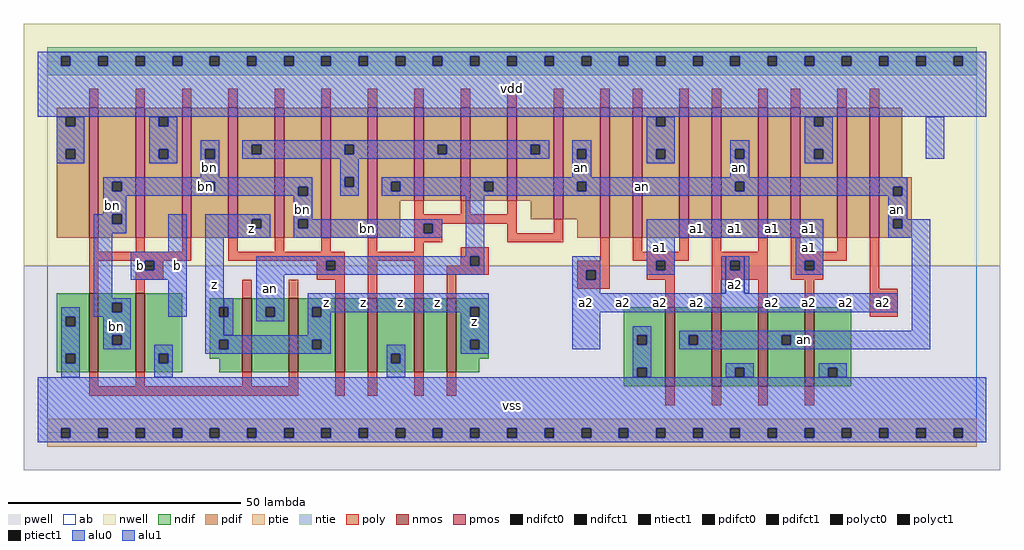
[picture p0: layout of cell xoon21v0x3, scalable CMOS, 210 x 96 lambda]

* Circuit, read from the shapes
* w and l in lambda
.subckt xoon21v0x3 a1 a2 an b bn vdd vss z
M1 bn b vss vss nfet w=17 l=2 m=2
M2 an b z vss nfet w=16 l=2 m=2
M3 n1 an z vss nfet w=16 l=2
M4 vss bn n1 vss nfet w=16 l=2
M5 n2 bn vss vss nfet w=16 l=2
M6 z an n2 vss nfet w=16 l=2
M7 an a1 vss vss nfet w=17 l=2 m=2
M8 vss a2 an vss nfet w=17 l=2 m=2
M9 bn b vdd vdd pfet w=28 l=2 m=3
M10 z an bn vdd pfet w=28 l=2 m=3
M11 an bn z vdd pfet w=28 l=2
M12 z bn an vdd pfet w=20 l=2 m=3
M13 an bn z vdd pfet w=24 l=2
M14 n3 a2 an vdd pfet w=28 l=2
M15 vdd a1 n3 vdd pfet w=28 l=2
M16 n4 a1 vdd vdd pfet w=28 l=2
M17 an a2 n4 vdd pfet w=28 l=2
M18 n5 a2 an vdd pfet w=28 l=2
M19 vdd a1 n5 vdd pfet w=28 l=2
M20 n6 a1 vdd vdd pfet w=28 l=2
M21 an a2 n6 vdd pfet w=28 l=2
.ends

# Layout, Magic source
magic
tech scmos
<< ab >>
rect 0 0 200 80
<< nwell >>
rect -5 36 205 88
<< pwell >>
rect -5 -8 205 36
<< poly >>
rect 9 70 11 74
rect 19 70 21 74
rect 29 70 31 74
rect 39 70 41 74
rect 49 70 51 74
rect 59 70 61 74
rect 69 70 71 74
rect 79 70 81 74
rect 89 70 91 74
rect 99 70 101 74
rect 109 70 111 74
rect 119 70 121 74
rect 126 70 128 74
rect 136 70 138 74
rect 143 70 145 74
rect 153 70 155 74
rect 160 70 162 74
rect 170 70 172 74
rect 177 70 179 74
rect 79 47 81 50
rect 89 47 91 50
rect 99 47 101 50
rect 79 45 101 47
rect 79 43 81 45
rect 83 43 85 45
rect 9 39 11 42
rect 19 39 21 42
rect 29 39 31 42
rect 9 37 31 39
rect 39 39 41 42
rect 49 39 51 42
rect 59 39 61 42
rect 69 39 71 42
rect 79 41 85 43
rect 99 43 101 45
rect 109 43 111 46
rect 99 41 111 43
rect 79 39 81 41
rect 39 37 64 39
rect 9 30 11 37
rect 19 35 21 37
rect 23 35 25 37
rect 19 33 25 35
rect 58 35 60 37
rect 62 35 64 37
rect 58 33 64 35
rect 19 30 21 33
rect 42 29 44 33
rect 52 29 54 33
rect 62 29 64 33
rect 69 37 81 39
rect 69 29 71 37
rect 79 29 81 37
rect 89 38 95 40
rect 89 36 91 38
rect 93 36 95 38
rect 119 37 121 42
rect 126 39 128 42
rect 136 39 138 42
rect 126 37 138 39
rect 143 39 145 42
rect 153 39 155 42
rect 143 37 155 39
rect 86 34 95 36
rect 114 35 121 37
rect 86 29 88 34
rect 114 33 116 35
rect 118 33 121 35
rect 129 35 131 37
rect 133 35 135 37
rect 129 33 135 35
rect 114 31 121 33
rect 133 27 135 33
rect 143 35 147 37
rect 149 35 155 37
rect 143 33 155 35
rect 160 39 162 42
rect 170 39 172 42
rect 160 37 172 39
rect 160 35 163 37
rect 165 35 167 37
rect 160 33 167 35
rect 143 27 145 33
rect 153 27 155 33
rect 163 27 165 33
rect 177 31 179 42
rect 177 29 183 31
rect 177 27 179 29
rect 181 27 183 29
rect 9 10 11 13
rect 19 10 21 13
rect 42 10 44 13
rect 52 10 54 13
rect 9 8 54 10
rect 62 8 64 13
rect 69 8 71 13
rect 79 8 81 13
rect 86 8 88 13
rect 177 25 183 27
rect 133 6 135 10
rect 143 6 145 10
rect 153 6 155 10
rect 163 6 165 10
<< ndif >>
rect 2 25 9 30
rect 2 23 4 25
rect 6 23 9 25
rect 2 17 9 23
rect 2 15 4 17
rect 6 15 9 17
rect 2 13 9 15
rect 11 28 19 30
rect 11 26 14 28
rect 16 26 19 28
rect 11 21 19 26
rect 11 19 14 21
rect 16 19 19 21
rect 11 13 19 19
rect 21 17 29 30
rect 21 15 24 17
rect 26 15 29 17
rect 35 27 42 29
rect 35 25 37 27
rect 39 25 42 27
rect 35 20 42 25
rect 35 18 37 20
rect 39 18 42 20
rect 35 16 42 18
rect 21 13 29 15
rect 37 13 42 16
rect 44 27 52 29
rect 44 25 47 27
rect 49 25 52 27
rect 44 13 52 25
rect 54 27 62 29
rect 54 25 57 27
rect 59 25 62 27
rect 54 20 62 25
rect 54 18 57 20
rect 59 18 62 20
rect 54 13 62 18
rect 64 13 69 29
rect 71 17 79 29
rect 71 15 74 17
rect 76 15 79 17
rect 71 13 79 15
rect 81 13 86 29
rect 88 27 95 29
rect 88 25 91 27
rect 93 25 95 27
rect 88 20 95 25
rect 88 18 91 20
rect 93 18 95 20
rect 88 16 95 18
rect 124 21 133 27
rect 124 19 127 21
rect 129 19 133 21
rect 88 13 93 16
rect 124 14 133 19
rect 124 12 127 14
rect 129 12 133 14
rect 124 10 133 12
rect 135 21 143 27
rect 135 19 138 21
rect 140 19 143 21
rect 135 10 143 19
rect 145 14 153 27
rect 145 12 148 14
rect 150 12 153 14
rect 145 10 153 12
rect 155 21 163 27
rect 155 19 158 21
rect 160 19 163 21
rect 155 10 163 19
rect 165 14 173 27
rect 165 12 168 14
rect 170 12 173 14
rect 165 10 173 12
<< pdif >>
rect 2 68 9 70
rect 2 66 4 68
rect 6 66 9 68
rect 2 61 9 66
rect 2 59 4 61
rect 6 59 9 61
rect 2 42 9 59
rect 11 54 19 70
rect 11 52 14 54
rect 16 52 19 54
rect 11 47 19 52
rect 11 45 14 47
rect 16 45 19 47
rect 11 42 19 45
rect 21 68 29 70
rect 21 66 24 68
rect 26 66 29 68
rect 21 61 29 66
rect 21 59 24 61
rect 26 59 29 61
rect 21 42 29 59
rect 31 61 39 70
rect 31 59 34 61
rect 36 59 39 61
rect 31 54 39 59
rect 31 52 34 54
rect 36 52 39 54
rect 31 42 39 52
rect 41 62 49 70
rect 41 60 44 62
rect 46 60 49 62
rect 41 46 49 60
rect 41 44 44 46
rect 46 44 49 46
rect 41 42 49 44
rect 51 53 59 70
rect 51 51 54 53
rect 56 51 59 53
rect 51 46 59 51
rect 51 44 54 46
rect 56 44 59 46
rect 51 42 59 44
rect 61 62 69 70
rect 61 60 64 62
rect 66 60 69 62
rect 61 55 69 60
rect 61 53 64 55
rect 66 53 69 55
rect 61 42 69 53
rect 71 54 79 70
rect 71 52 74 54
rect 76 52 79 54
rect 71 50 79 52
rect 81 62 89 70
rect 81 60 84 62
rect 86 60 89 62
rect 81 50 89 60
rect 91 54 99 70
rect 91 52 94 54
rect 96 52 99 54
rect 91 50 99 52
rect 101 62 109 70
rect 101 60 104 62
rect 106 60 109 62
rect 101 50 109 60
rect 71 42 76 50
rect 104 46 109 50
rect 111 61 119 70
rect 111 59 114 61
rect 116 59 119 61
rect 111 54 119 59
rect 111 52 114 54
rect 116 52 119 54
rect 111 46 119 52
rect 114 42 119 46
rect 121 42 126 70
rect 128 68 136 70
rect 128 66 131 68
rect 133 66 136 68
rect 128 61 136 66
rect 128 59 131 61
rect 133 59 136 61
rect 128 42 136 59
rect 138 42 143 70
rect 145 61 153 70
rect 145 59 148 61
rect 150 59 153 61
rect 145 54 153 59
rect 145 52 148 54
rect 150 52 153 54
rect 145 42 153 52
rect 155 42 160 70
rect 162 68 170 70
rect 162 66 165 68
rect 167 66 170 68
rect 162 61 170 66
rect 162 59 165 61
rect 167 59 170 61
rect 162 42 170 59
rect 172 42 177 70
rect 179 55 184 70
rect 179 53 186 55
rect 179 51 182 53
rect 184 51 186 53
rect 179 46 186 51
rect 179 44 182 46
rect 184 44 186 46
rect 179 42 186 44
<< alu1 >>
rect -2 81 202 82
rect -2 79 3 81
rect 5 79 11 81
rect 13 79 19 81
rect 21 79 27 81
rect 29 79 35 81
rect 37 79 43 81
rect 45 79 51 81
rect 53 79 59 81
rect 61 79 67 81
rect 69 79 75 81
rect 77 79 83 81
rect 85 79 91 81
rect 93 79 99 81
rect 101 79 107 81
rect 109 79 115 81
rect 117 79 123 81
rect 125 79 131 81
rect 133 79 139 81
rect 141 79 147 81
rect 149 79 155 81
rect 157 79 163 81
rect 165 79 171 81
rect 173 79 179 81
rect 181 79 187 81
rect 189 79 195 81
rect 197 79 202 81
rect -2 68 202 79
rect 26 39 30 47
rect 18 37 30 39
rect 18 35 21 37
rect 23 35 30 37
rect 18 33 30 35
rect 26 25 30 33
rect 34 46 48 47
rect 34 44 44 46
rect 46 44 48 46
rect 34 42 48 44
rect 34 27 38 42
rect 129 42 167 46
rect 113 35 119 38
rect 34 25 37 27
rect 34 21 38 25
rect 113 33 116 35
rect 118 33 119 35
rect 129 37 135 42
rect 129 35 131 37
rect 133 35 135 37
rect 129 34 135 35
rect 113 30 119 33
rect 146 37 150 38
rect 146 35 147 37
rect 149 35 150 37
rect 146 30 150 35
rect 161 37 167 42
rect 161 35 163 37
rect 165 35 167 37
rect 161 34 167 35
rect 56 27 95 30
rect 56 25 57 27
rect 59 26 91 27
rect 59 25 61 26
rect 56 21 61 25
rect 34 20 61 21
rect 34 18 37 20
rect 39 18 57 20
rect 59 18 61 20
rect 89 25 91 26
rect 93 25 95 27
rect 89 20 95 25
rect 34 17 61 18
rect 89 18 91 20
rect 93 18 95 20
rect 113 29 183 30
rect 113 27 179 29
rect 181 27 183 29
rect 113 26 183 27
rect 113 18 119 26
rect 89 17 95 18
rect -2 1 202 12
rect -2 -1 3 1
rect 5 -1 11 1
rect 13 -1 19 1
rect 21 -1 27 1
rect 29 -1 35 1
rect 37 -1 43 1
rect 45 -1 51 1
rect 53 -1 59 1
rect 61 -1 67 1
rect 69 -1 75 1
rect 77 -1 83 1
rect 85 -1 91 1
rect 93 -1 99 1
rect 101 -1 107 1
rect 109 -1 115 1
rect 117 -1 123 1
rect 125 -1 131 1
rect 133 -1 139 1
rect 141 -1 147 1
rect 149 -1 155 1
rect 157 -1 163 1
rect 165 -1 171 1
rect 173 -1 179 1
rect 181 -1 187 1
rect 189 -1 195 1
rect 197 -1 202 1
rect -2 -2 202 -1
<< ptie >>
rect 0 1 200 3
rect 0 -1 3 1
rect 5 -1 11 1
rect 13 -1 19 1
rect 21 -1 27 1
rect 29 -1 35 1
rect 37 -1 43 1
rect 45 -1 51 1
rect 53 -1 59 1
rect 61 -1 67 1
rect 69 -1 75 1
rect 77 -1 83 1
rect 85 -1 91 1
rect 93 -1 99 1
rect 101 -1 107 1
rect 109 -1 115 1
rect 117 -1 123 1
rect 125 -1 131 1
rect 133 -1 139 1
rect 141 -1 147 1
rect 149 -1 155 1
rect 157 -1 163 1
rect 165 -1 171 1
rect 173 -1 179 1
rect 181 -1 187 1
rect 189 -1 195 1
rect 197 -1 200 1
rect 0 -3 200 -1
<< ntie >>
rect 0 81 200 83
rect 0 79 3 81
rect 5 79 11 81
rect 13 79 19 81
rect 21 79 27 81
rect 29 79 35 81
rect 37 79 43 81
rect 45 79 51 81
rect 53 79 59 81
rect 61 79 67 81
rect 69 79 75 81
rect 77 79 83 81
rect 85 79 91 81
rect 93 79 99 81
rect 101 79 107 81
rect 109 79 115 81
rect 117 79 123 81
rect 125 79 131 81
rect 133 79 139 81
rect 141 79 147 81
rect 149 79 155 81
rect 157 79 163 81
rect 165 79 171 81
rect 173 79 179 81
rect 181 79 187 81
rect 189 79 195 81
rect 197 79 200 81
rect 0 77 200 79
<< nmos >>
rect 9 13 11 30
rect 19 13 21 30
rect 42 13 44 29
rect 52 13 54 29
rect 62 13 64 29
rect 69 13 71 29
rect 79 13 81 29
rect 86 13 88 29
rect 133 10 135 27
rect 143 10 145 27
rect 153 10 155 27
rect 163 10 165 27
<< pmos >>
rect 9 42 11 70
rect 19 42 21 70
rect 29 42 31 70
rect 39 42 41 70
rect 49 42 51 70
rect 59 42 61 70
rect 69 42 71 70
rect 79 50 81 70
rect 89 50 91 70
rect 99 50 101 70
rect 109 46 111 70
rect 119 42 121 70
rect 126 42 128 70
rect 136 42 138 70
rect 143 42 145 70
rect 153 42 155 70
rect 160 42 162 70
rect 170 42 172 70
rect 177 42 179 70
<< polyct0 >>
rect 81 43 83 45
rect 60 35 62 37
rect 91 36 93 38
<< polyct1 >>
rect 21 35 23 37
rect 116 33 118 35
rect 131 35 133 37
rect 147 35 149 37
rect 163 35 165 37
rect 179 27 181 29
<< ndifct0 >>
rect 4 23 6 25
rect 4 15 6 17
rect 14 26 16 28
rect 14 19 16 21
rect 24 15 26 17
rect 38 25 39 27
rect 47 25 49 27
rect 74 15 76 17
rect 127 19 129 21
rect 127 12 129 14
rect 138 19 140 21
rect 148 12 150 14
rect 158 19 160 21
rect 168 12 170 14
<< ndifct1 >>
rect 37 25 38 27
rect 37 18 39 20
rect 57 25 59 27
rect 57 18 59 20
rect 91 25 93 27
rect 91 18 93 20
<< ntiect1 >>
rect 3 79 5 81
rect 11 79 13 81
rect 19 79 21 81
rect 27 79 29 81
rect 35 79 37 81
rect 43 79 45 81
rect 51 79 53 81
rect 59 79 61 81
rect 67 79 69 81
rect 75 79 77 81
rect 83 79 85 81
rect 91 79 93 81
rect 99 79 101 81
rect 107 79 109 81
rect 115 79 117 81
rect 123 79 125 81
rect 131 79 133 81
rect 139 79 141 81
rect 147 79 149 81
rect 155 79 157 81
rect 163 79 165 81
rect 171 79 173 81
rect 179 79 181 81
rect 187 79 189 81
rect 195 79 197 81
<< ptiect1 >>
rect 3 -1 5 1
rect 11 -1 13 1
rect 19 -1 21 1
rect 27 -1 29 1
rect 35 -1 37 1
rect 43 -1 45 1
rect 51 -1 53 1
rect 59 -1 61 1
rect 67 -1 69 1
rect 75 -1 77 1
rect 83 -1 85 1
rect 91 -1 93 1
rect 99 -1 101 1
rect 107 -1 109 1
rect 115 -1 117 1
rect 123 -1 125 1
rect 131 -1 133 1
rect 139 -1 141 1
rect 147 -1 149 1
rect 155 -1 157 1
rect 163 -1 165 1
rect 171 -1 173 1
rect 179 -1 181 1
rect 187 -1 189 1
rect 195 -1 197 1
<< pdifct0 >>
rect 4 66 6 68
rect 4 59 6 61
rect 14 52 16 54
rect 14 45 16 47
rect 24 66 26 68
rect 24 59 26 61
rect 34 59 36 61
rect 34 52 36 54
rect 44 60 46 62
rect 54 51 56 53
rect 54 44 56 46
rect 64 60 66 62
rect 64 53 66 55
rect 74 52 76 54
rect 84 60 86 62
rect 94 52 96 54
rect 104 60 106 62
rect 114 59 116 61
rect 114 52 116 54
rect 131 66 133 68
rect 131 59 133 61
rect 148 59 150 61
rect 148 52 150 54
rect 165 66 167 68
rect 165 59 167 61
rect 182 51 184 53
rect 182 44 184 46
<< pdifct1 >>
rect 44 44 46 46
<< alu0 >>
rect 2 66 4 68
rect 6 66 8 68
rect 2 61 8 66
rect 2 59 4 61
rect 6 59 8 61
rect 2 58 8 59
rect 22 66 24 68
rect 26 66 28 68
rect 22 61 28 66
rect 129 66 131 68
rect 133 66 135 68
rect 22 59 24 61
rect 26 59 28 61
rect 22 58 28 59
rect 33 61 37 63
rect 33 59 34 61
rect 36 59 37 61
rect 42 62 108 63
rect 42 60 44 62
rect 46 60 64 62
rect 66 60 84 62
rect 86 60 104 62
rect 106 60 108 62
rect 42 59 108 60
rect 113 61 117 63
rect 113 59 114 61
rect 116 59 117 61
rect 33 55 37 59
rect 63 55 67 59
rect 113 55 117 59
rect 129 61 135 66
rect 163 66 165 68
rect 167 66 169 68
rect 129 59 131 61
rect 133 59 135 61
rect 129 58 135 59
rect 147 61 151 63
rect 147 59 148 61
rect 150 59 151 61
rect 147 55 151 59
rect 163 61 169 66
rect 163 59 165 61
rect 167 59 169 61
rect 189 59 193 68
rect 163 58 169 59
rect 12 54 57 55
rect 12 52 14 54
rect 16 52 34 54
rect 36 53 57 54
rect 36 52 54 53
rect 12 51 54 52
rect 56 51 57 53
rect 63 53 64 55
rect 66 53 67 55
rect 63 51 67 53
rect 72 54 185 55
rect 72 52 74 54
rect 76 52 94 54
rect 96 52 114 54
rect 116 52 148 54
rect 150 53 185 54
rect 150 52 182 53
rect 72 51 182 52
rect 184 51 185 53
rect 12 47 17 51
rect 10 45 14 47
rect 16 45 17 47
rect 10 43 17 45
rect 10 29 14 43
rect 10 28 18 29
rect 3 25 7 27
rect 10 26 14 28
rect 16 26 18 28
rect 10 25 18 26
rect 53 46 57 51
rect 53 44 54 46
rect 56 45 85 46
rect 56 44 81 45
rect 53 43 81 44
rect 83 43 85 45
rect 53 42 85 43
rect 90 38 94 51
rect 181 46 185 51
rect 181 44 182 46
rect 184 44 190 46
rect 181 42 190 44
rect 45 37 91 38
rect 45 35 60 37
rect 62 36 91 37
rect 93 36 94 38
rect 62 35 94 36
rect 45 34 94 35
rect 38 27 40 29
rect 39 25 40 27
rect 3 23 4 25
rect 6 23 7 25
rect 3 17 7 23
rect 12 21 18 25
rect 12 19 14 21
rect 16 19 18 21
rect 38 21 40 25
rect 45 27 51 34
rect 145 30 146 38
rect 150 30 151 38
rect 45 25 47 27
rect 49 25 51 27
rect 45 24 51 25
rect 12 18 18 19
rect 3 15 4 17
rect 6 15 7 17
rect 3 12 7 15
rect 23 17 27 19
rect 73 17 77 19
rect 126 21 130 23
rect 186 22 190 42
rect 126 19 127 21
rect 129 19 130 21
rect 23 15 24 17
rect 26 15 27 17
rect 23 12 27 15
rect 73 15 74 17
rect 76 15 77 17
rect 73 12 77 15
rect 126 14 130 19
rect 136 21 190 22
rect 136 19 138 21
rect 140 19 158 21
rect 160 19 190 21
rect 136 18 190 19
rect 126 12 127 14
rect 129 12 130 14
rect 146 14 152 15
rect 146 12 148 14
rect 150 12 152 14
rect 166 14 172 15
rect 166 12 168 14
rect 170 12 172 14
<< labels >>
rlabel alu0 15 23 15 23 6 bn
rlabel alu0 14 49 14 49 6 bn
rlabel alu0 35 57 35 57 6 bn
rlabel alu0 48 31 48 31 6 an
rlabel alu0 55 48 55 48 6 bn
rlabel alu0 34 53 34 53 6 bn
rlabel alu0 69 44 69 44 6 bn
rlabel alu0 115 57 115 57 6 an
rlabel alu0 149 57 149 57 6 an
rlabel alu0 163 20 163 20 6 an
rlabel alu0 183 48 183 48 6 an
rlabel alu0 128 53 128 53 6 an
rlabel alu1 20 36 20 36 6 b
rlabel alu1 28 36 28 36 6 b
rlabel alu1 60 28 60 28 6 z
rlabel alu1 68 28 68 28 6 z
rlabel alu1 76 28 76 28 6 z
rlabel alu1 36 32 36 32 6 z
rlabel alu1 44 44 44 44 6 z
rlabel alu1 100 6 100 6 6 vss
rlabel alu1 116 28 116 28 6 a2
rlabel alu1 84 28 84 28 6 z
rlabel alu1 92 24 92 24 6 z
rlabel alu1 100 74 100 74 6 vdd
rlabel alu1 124 28 124 28 6 a2
rlabel alu1 132 28 132 28 6 a2
rlabel alu1 140 28 140 28 6 a2
rlabel alu1 156 28 156 28 6 a2
rlabel alu1 148 32 148 32 6 a2
rlabel alu1 132 40 132 40 6 a1
rlabel alu1 140 44 140 44 6 a1
rlabel alu1 148 44 148 44 6 a1
rlabel alu1 156 44 156 44 6 a1
rlabel alu1 164 28 164 28 6 a2
rlabel alu1 172 28 172 28 6 a2
rlabel polyct1 180 28 180 28 6 a2
rlabel alu1 164 40 164 40 6 a1
rlabel alu1 164 44 164 44 6 a1
<< end >>
